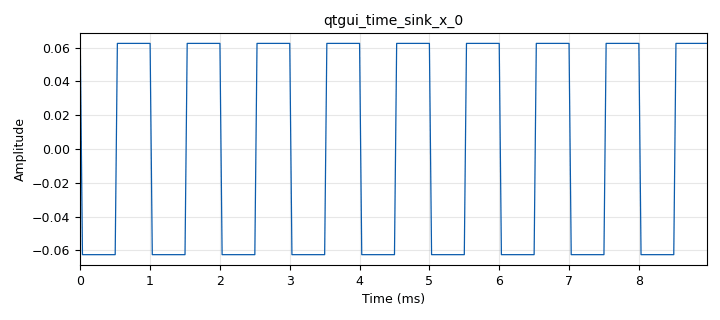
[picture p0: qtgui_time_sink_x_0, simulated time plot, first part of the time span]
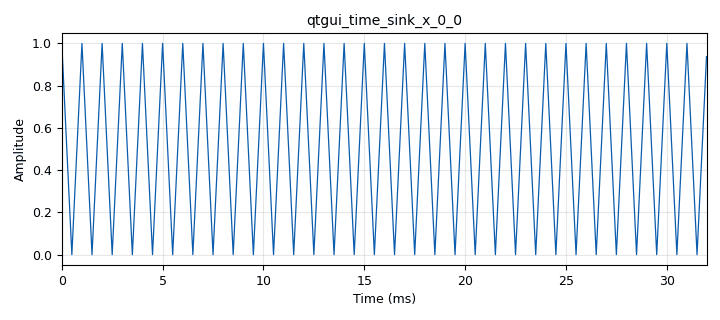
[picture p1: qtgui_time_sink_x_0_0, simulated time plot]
options:
  parameters:
    generate_options: qt_gui
    id: PRUEBA_1
    output_language: python
    title: Not titled yet
  states: {}

blocks:
- name: samp_rate
  id: variable
  parameters:
    value: '32000'
  states: {}
- name: analog_sig_source_x_0
  id: analog_sig_source_x
  parameters:
    amp: '1'
    freq: '1000'
    offset: '0'
    phase: '0'
    samp_rate: samp_rate
    type: float
    waveform: analog.GR_TRI_WAVE
  states: {}
- name: epy_block_0
  id: epy_block
  parameters:
    _source_code: |-
      import numpy as np
      from gnuradio import gr

      class blk(gr.sync_block):
          def __init__(self):
              gr.sync_block.__init__(
                  self,
                  name='e_Diff',
                  in_sig=[np.float32],
                  out_sig=[np.float32]
              )
              self.x_prev = 0.0   # muestra anterior

          def work(self, input_items, output_items):
              x = input_items[0]
              y = output_items[0]

              for i in range(len(x)):
                  y[i] = x[i] - self.x_prev
                  self.x_prev = x[i]

              return len(y)
  states: {}
- name: qtgui_time_sink_x_0
  id: qtgui_time_sink_x
  parameters:
    autoscale: 'True'
    grid: 'True'
    size: '1024'
    srate: samp_rate
    type: float
  states: {}
- name: qtgui_time_sink_x_0_0
  id: qtgui_time_sink_x
  parameters:
    autoscale: 'True'
    grid: 'True'
    size: '1024'
    srate: samp_rate
    type: float
  states: {}

connections:
- [analog_sig_source_x_0, '0', epy_block_0, '0']
- [analog_sig_source_x_0, '0', qtgui_time_sink_x_0_0, '0']
- [epy_block_0, '0', qtgui_time_sink_x_0, '0']

metadata:
  file_format: 1
  grc_version: v3.10.11.0-89-ga17f69e7
